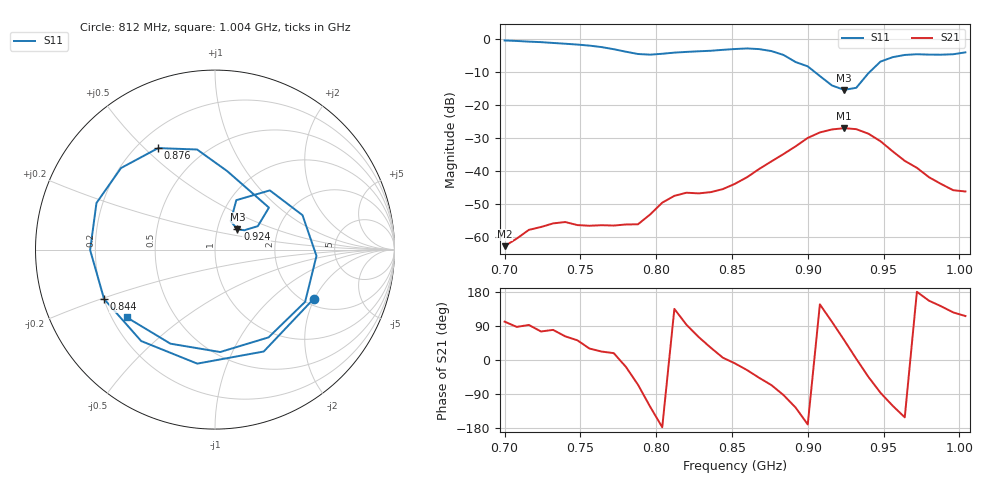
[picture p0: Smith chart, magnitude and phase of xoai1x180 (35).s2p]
# Hz S RI R 50
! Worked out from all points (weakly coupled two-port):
!   39 points, 700 MHz to 1.004 GHz, reference 50 ohm
!   highest |S21| = -27.04 dB at 924 MHz (marker M1); lowest = -62.7 dB at 700 MHz (marker M2)
!   lowest |S11| = -15.5 dB at 924 MHz (marker M3), VSWR 1.41, Z = 62.4 + j14.5 ohm
!   |S11| at or under -10 dB: 904.4 MHz to 941 MHz (36.63 MHz wide, 3.97 % of centre)
!   S12 and S22 are empty: the file has one direction only
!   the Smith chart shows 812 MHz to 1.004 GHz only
!   S11 on the Smith chart (normalised r, x): 812 MHz: 2.24, -1.97; 844 MHz: 0.20, -0.20; 876 MHz: 0.28, +0.55; 924 MHz: 1.25, +0.29; 1.004 GHz: 0.26, -0.32
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7e8  0.7584 0.55  -0.000143 0.000722  0 0  0 0
7.24e8  0.8483 -0.2471  0.000364 0.00139  0 0  0 0
7.4e8  0.4556 -0.7008  0.000789 0.00151  0 0  0 0
7.56e8  -0.1921 -0.7589  0.00129 0.000752  0 0  0 0
7.72e8  -0.6611 -0.2016  0.00143 0.000469  0 0  0 0
7.8e8  -0.5932 0.2227  0.00149 -0.000483  0 0  0 0
7.88e8  -0.2481 0.53  0.00066 -0.00143  0 0  0 0
7.96e8  0.2354 0.5212  -0.00121 -0.00185  0 0  0 0
8.04e8  0.5623 0.1784  -0.00334 -0.000151  0 0  0 0
8.12e8  0.5494 -0.2747  -0.00298 0.00301  0 0  0 0
8.28e8  -0.0987 -0.6353  0.00226 0.00402  0 0  0 0
8.44e8  -0.6179 -0.2753  0.00532 0.000568  0 0  0 0
8.52e8  -0.6957 -0.0025  0.00636 -0.00101  0 0  0 0
8.76e8  -0.3167 0.5655  0.00566 -0.0128  0 0  0 0
9e8  0.3005 0.2339  -0.0312 -0.00544  0 0  0 0
9.08e8  0.2386 0.1307  -0.0321 0.021  0 0  0 0
9.24e8  0.125 0.1129  0.027 0.0353  0 0  0 0
9.4e8  0.1188 0.2754  0.0262 -0.0258  0 0  0 0
9.56e8  0.4875 0.1918  -0.0101 -0.0171  0 0  0 0
9.64e8  0.5654 -0.0351  -0.0125 -0.00684  0 0  0 0
9.8e8  0.2982 -0.4891  -0.00741 0.00323  0 0  0 0
1.004e9  -0.4914 -0.3777  -0.00216 0.00443  0 0  0 0
